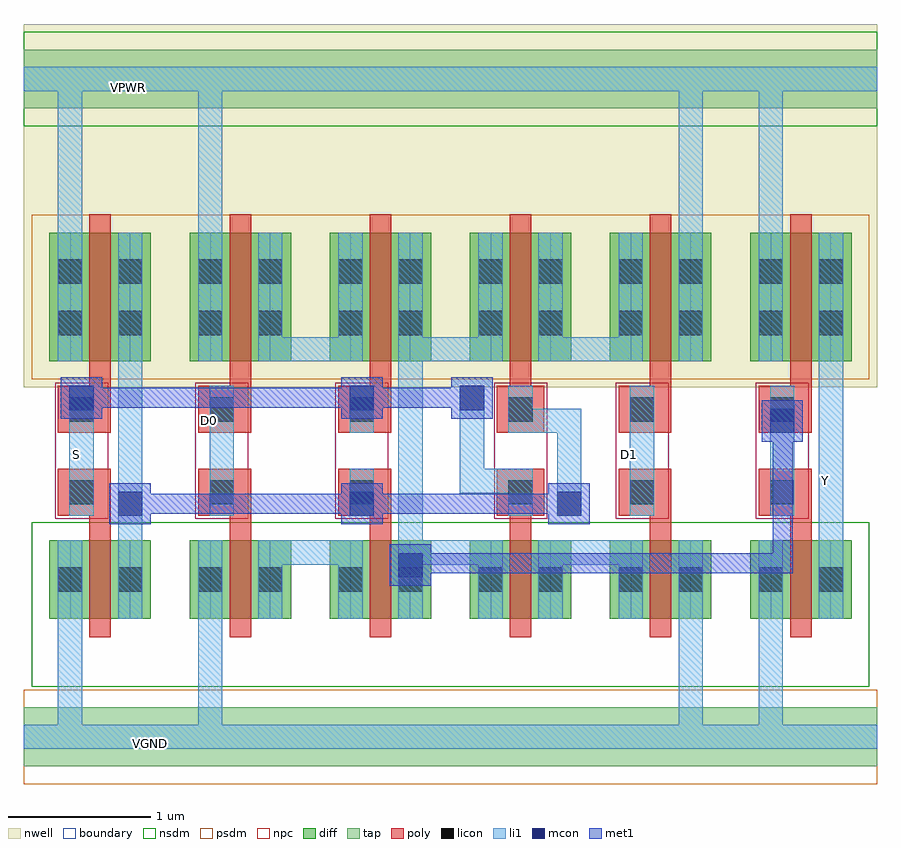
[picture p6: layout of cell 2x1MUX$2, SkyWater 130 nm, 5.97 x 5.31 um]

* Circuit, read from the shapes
.subckt 2x1MUX$2 D0 D1 S VGND VPWR Y
XM1 n1 S VGND VSUBS sky130_fd_pr__nfet_01v8 w=0.55 l=0.15
XM2 n2 D0 VGND VSUBS sky130_fd_pr__nfet_01v8 w=0.55 l=0.15
XM3 n3 n1 n2 VSUBS sky130_fd_pr__nfet_01v8 w=0.55 l=0.15
XM4 n4 S n3 VSUBS sky130_fd_pr__nfet_01v8 w=0.55 l=0.15
XM5 VGND D1 n4 VSUBS sky130_fd_pr__nfet_01v8 w=0.55 l=0.15
XM6 Y n3 VGND VSUBS sky130_fd_pr__nfet_01v8 w=0.55 l=0.15
XM7 n1 S VPWR n5 sky130_fd_pr__pfet_01v8 w=0.9 l=0.15
XM8 n6 D0 VPWR n5 sky130_fd_pr__pfet_01v8 w=0.9 l=0.15
XM9 n3 S n6 n5 sky130_fd_pr__pfet_01v8 w=0.9 l=0.15
XM10 n7 n1 n3 n5 sky130_fd_pr__pfet_01v8 w=0.9 l=0.15
XM11 VPWR D1 n7 n5 sky130_fd_pr__pfet_01v8 w=0.9 l=0.15
XM12 Y n3 VPWR n5 sky130_fd_pr__pfet_01v8 w=0.9 l=0.15
.ends

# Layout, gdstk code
import gdstk
lib = gdstk.Library(unit=1e-6, precision=1e-09)
def R(c, l, rs):  # rectangles x0, y0, x1, y1
    for r in rs: c.add(gdstk.rectangle(r[:2], r[2:], *l))
def A(c, l, x, y, w, h, nx, ny, dx, dy):  # array of equal rectangles
    R(c, l, [(x+i*dx, y+j*dy, x+i*dx+w, y+j*dy+h) for i in range(nx) for j in range(ny)])
def P(c, l, *ps):  # polygons
    for p in ps: c.add(gdstk.Polygon(p, *l))
nwell = (64, 20)
diff = (65, 20)
tap = (65, 44)
poly = (66, 20)
licon = (66, 44)
li1 = (67, 20)
mcon = (67, 44)
met1 = (68, 20)
nsdm = (93, 44)
psdm = (94, 20)
npc = (95, 20)
boundary = (235, 4)

mosfet = lib.new_cell('MOSFET')
R(mosfet, diff, [(-0.145,0,0.565,0.55)])
R(mosfet, poly, [(0.135,-0.13,0.285,0.68)])
R(mosfet, licon, [(-0.085,0.19,0.085,0.36), (0.335,0.19,0.505,0.36)])
R(mosfet, li1, [(-0.085,0,0.085,0.55), (0.335,0,0.505,0.55)])
R(mosfet, nsdm, [(-0.27,-0.125,0.69,0.675)])
R(mosfet, boundary, [(0,0,0.42,0.55)])

contact = lib.new_cell('Contact')
R(contact, li1, [(-0.085,-0.085,0.085,0.085)])
R(contact, mcon, [(-0.085,-0.085,0.085,0.085)])
R(contact, met1, [(-0.145,-0.145,0.145,0.145)])

contact_5 = lib.new_cell('Contact$5')
R(contact_5, poly, [(-0.165,-0.165,0.165,0.165)])
R(contact_5, licon, [(-0.085,-0.085,0.085,0.085)])
R(contact_5, li1, [(-0.085,-0.165,0.085,0.165)])
R(contact_5, npc, [(-0.185,-0.185,0.185,0.185)])

mosfet_1 = lib.new_cell('MOSFET$1')
R(mosfet_1, nwell, [(-0.325,-0.18,0.745,1.08)])
R(mosfet_1, diff, [(-0.145,0,0.565,0.9)])
R(mosfet_1, poly, [(0.135,-0.13,0.285,1.03)])
R(mosfet_1, licon, [(-0.085,0.185,0.085,0.355), (0.335,0.185,0.505,0.355), (-0.085,0.545,0.085,0.715), (0.335,0.545,0.505,0.715)])
R(mosfet_1, li1, [(-0.085,0,0.085,0.9), (0.335,0,0.505,0.9)])
R(mosfet_1, psdm, [(-0.27,-0.125,0.69,1.025)])
R(mosfet_1, boundary, [(0,0,0.42,0.9)])

c_2x1mux_2 = lib.new_cell('2x1MUX$2')
R(c_2x1mux_2, nwell, [(0,1.825,5.97,4.365), (0,1.825,5.97,4.365)])
R(c_2x1mux_2, tap, [(0,-0.825,5.97,-0.415), (0,3.775,5.97,4.185)])
A(c_2x1mux_2, poly, 0.46, 0.885, 0.15, 0.37, 6, 2, 0.98, 0.62)
R(c_2x1mux_2, nsdm, [(0.055,-0.27,5.915,0.88), (0,3.65,5.97,4.31)])
R(c_2x1mux_2, psdm, [(0,-0.95,5.97,-0.29), (0.055,1.88,5.915,3.03)])
A(c_2x1mux_2, npc, 0.22, 0.905, 0.37, 0.95, 3, 1, 0.98, 0)
R(c_2x1mux_2, npc, [(4.14,0.905,4.51,1.855), (5.12,0.905,5.49,1.855)])
P(c_2x1mux_2, npc, [(3.29,0.905),(3.29,1.855),(3.66,1.855),(3.66,1.655),(3.66,0.905)])
c_2x1mux_2.add(gdstk.FlexPath([(3.815,1.095),(3.815,1.59),(3.395,1.59),(3.39,1.59)], 0.17, ends="flush", simple_path=True, layer=67, datatype=20))  # li1
c_2x1mux_2.add(gdstk.FlexPath([(3.18,0.67),(2.79,0.67)], 0.17, ends="flush", simple_path=True, layer=67, datatype=20))  # li1
c_2x1mux_2.add(gdstk.FlexPath([(3.18,2.09),(2.79,2.09)], 0.17, ends="flush", simple_path=True, layer=67, datatype=20))  # li1
c_2x1mux_2.add(gdstk.FlexPath([(3.77,0.67),(4.16,0.67)], 0.17, ends="flush", simple_path=True, layer=67, datatype=20))  # li1
c_2x1mux_2.add(gdstk.FlexPath([(1.81,2.09),(2.2,2.09)], 0.17, ends="flush", simple_path=True, layer=67, datatype=20))  # li1
c_2x1mux_2.add(gdstk.FlexPath([(3.77,2.09),(4.16,2.09)], 0.17, ends="flush", simple_path=True, layer=67, datatype=20))  # li1
c_2x1mux_2.add(gdstk.FlexPath([(0.405,1.505),(0.405,1.255)], 0.17, ends="flush", simple_path=True, layer=67, datatype=20))  # li1
c_2x1mux_2.add(gdstk.FlexPath([(1.385,1.505),(1.385,1.255)], 0.17, ends="flush", simple_path=True, layer=67, datatype=20))  # li1
c_2x1mux_2.add(gdstk.FlexPath([(4.325,1.505),(4.325,1.255)], 0.17, ends="flush", simple_path=True, layer=67, datatype=20))  # li1
c_2x1mux_2.add(gdstk.FlexPath([(5.305,1.505),(5.305,1.255)], 0.17, ends="flush", simple_path=True, layer=67, datatype=20))  # li1
c_2x1mux_2.add(gdstk.FlexPath([(0.745,2.005),(0.745,0.755)], 0.17, ends="flush", simple_path=True, layer=67, datatype=20))  # li1
c_2x1mux_2.add(gdstk.FlexPath([(2.705,2.005),(2.705,0.755)], 0.17, ends="flush", simple_path=True, layer=67, datatype=20))  # li1
c_2x1mux_2.add(gdstk.FlexPath([(5.645,2.005),(5.645,0.755)], 0.17, ends="flush", simple_path=True, layer=67, datatype=20))  # li1
c_2x1mux_2.add(gdstk.FlexPath([(3.135,1.67),(3.135,1.17),(3.425,1.17)], 0.17, ends="flush", simple_path=True, layer=67, datatype=20))  # li1
c_2x1mux_2.add(gdstk.FlexPath([(1.64,0.67),(2.37,0.67)], 0.17, ends="flush", simple_path=True, layer=67, datatype=20))  # li1
c_2x1mux_2.add(gdstk.FlexPath([(0.325,2.905),(0.325,3.895)], 0.17, ends="flush", simple_path=True, layer=67, datatype=20))  # li1
c_2x1mux_2.add(gdstk.FlexPath([(1.305,2.905),(1.305,3.895)], 0.17, ends="flush", simple_path=True, layer=67, datatype=20))  # li1
c_2x1mux_2.add(gdstk.FlexPath([(4.665,2.905),(4.665,3.895)], 0.17, ends="flush", simple_path=True, layer=67, datatype=20))  # li1
c_2x1mux_2.add(gdstk.FlexPath([(5.225,2.905),(5.225,3.895)], 0.17, ends="flush", simple_path=True, layer=67, datatype=20))  # li1
c_2x1mux_2.add(gdstk.FlexPath([(0,-0.62),(5.97,-0.62)], 0.17, ends="flush", simple_path=True, layer=67, datatype=20))  # li1
c_2x1mux_2.add(gdstk.FlexPath([(0,3.98),(5.97,3.98)], 0.17, ends="flush", simple_path=True, layer=67, datatype=20))  # li1
c_2x1mux_2.add(gdstk.FlexPath([(0.325,0.205),(0.325,-0.535)], 0.17, ends="flush", simple_path=True, layer=67, datatype=20))  # li1
c_2x1mux_2.add(gdstk.FlexPath([(1.305,0.205),(1.305,-0.535)], 0.17, ends="flush", simple_path=True, layer=67, datatype=20))  # li1
c_2x1mux_2.add(gdstk.FlexPath([(4.665,0.205),(4.665,-0.535)], 0.17, ends="flush", simple_path=True, layer=67, datatype=20))  # li1
c_2x1mux_2.add(gdstk.FlexPath([(5.225,0.205),(5.225,-0.535)], 0.17, ends="flush", simple_path=True, layer=67, datatype=20))  # li1
c_2x1mux_2.add(gdstk.FlexPath([(0.89,1.01),(3.67,1.01)], 0.14, ends="flush", simple_path=True, layer=68, datatype=20))  # met1
c_2x1mux_2.add(gdstk.FlexPath([(0.55,1.75),(2.99,1.75)], 0.14, ends="flush", simple_path=True, layer=68, datatype=20))  # met1
c_2x1mux_2.add(gdstk.FlexPath([(5.31,1.445),(5.31,0.595),(2.85,0.595)], 0.14, ends="flush", simple_path=True, layer=68, datatype=20))  # met1
c_2x1mux_2.add(gdstk.Reference(mosfet, (0.325,0.205)))
c_2x1mux_2.add(gdstk.Reference(mosfet, (1.305,0.205)))
c_2x1mux_2.add(gdstk.Reference(mosfet, (2.285,0.205)))
c_2x1mux_2.add(gdstk.Reference(mosfet, (3.265,0.205)))
c_2x1mux_2.add(gdstk.Reference(mosfet, (4.245,0.205)))
c_2x1mux_2.add(gdstk.Reference(mosfet, (5.225,0.205)))
c_2x1mux_2.add(gdstk.Reference(contact, (2.705,0.58)))
c_2x1mux_2.add(gdstk.Reference(contact, (0.745,1.01)))
c_2x1mux_2.add(gdstk.Reference(contact, (2.365,1.01)))
c_2x1mux_2.add(gdstk.Reference(contact, (3.815,1.01)))
c_2x1mux_2.add(gdstk.Reference(contact, (5.305,1.59)))
c_2x1mux_2.add(gdstk.Reference(contact, (0.405,1.75)))
c_2x1mux_2.add(gdstk.Reference(contact, (2.365,1.75)))
c_2x1mux_2.add(gdstk.Reference(contact, (3.135,1.75)))
c_2x1mux_2.add(gdstk.Reference(contact_5, (0.405,1.09), x_reflection=True))
c_2x1mux_2.add(gdstk.Reference(contact_5, (1.385,1.09), x_reflection=True))
c_2x1mux_2.add(gdstk.Reference(contact_5, (2.365,1.09), x_reflection=True))
c_2x1mux_2.add(gdstk.Reference(contact_5, (3.475,1.09), x_reflection=True))
c_2x1mux_2.add(gdstk.Reference(contact_5, (4.325,1.09), x_reflection=True))
c_2x1mux_2.add(gdstk.Reference(contact_5, (5.305,1.09), x_reflection=True))
c_2x1mux_2.add(gdstk.Reference(contact_5, (0.405,1.67)))
c_2x1mux_2.add(gdstk.Reference(contact_5, (1.385,1.67)))
c_2x1mux_2.add(gdstk.Reference(contact_5, (2.365,1.67)))
c_2x1mux_2.add(gdstk.Reference(contact_5, (3.475,1.67)))
c_2x1mux_2.add(gdstk.Reference(contact_5, (4.325,1.67)))
c_2x1mux_2.add(gdstk.Reference(contact_5, (5.305,1.67)))
c_2x1mux_2.add(gdstk.Reference(mosfet_1, (0.325,2.005)))
c_2x1mux_2.add(gdstk.Reference(mosfet_1, (1.305,2.005)))
c_2x1mux_2.add(gdstk.Reference(mosfet_1, (2.285,2.005)))
c_2x1mux_2.add(gdstk.Reference(mosfet_1, (3.265,2.005)))
c_2x1mux_2.add(gdstk.Reference(mosfet_1, (4.245,2.005)))
c_2x1mux_2.add(gdstk.Reference(mosfet_1, (5.225,2.005)))
c_2x1mux_2.add(gdstk.Label('VPWR', (0.735,3.92), layer=67, texttype=5))
c_2x1mux_2.add(gdstk.Label('D1', (4.24,1.355), layer=67, texttype=5))
c_2x1mux_2.add(gdstk.Label('Y', (5.61,1.175), layer=67, texttype=5))
c_2x1mux_2.add(gdstk.Label('S', (0.37,1.355), layer=67, texttype=5))
c_2x1mux_2.add(gdstk.Label('VGND', (0.885,-0.665), layer=67, texttype=5))
c_2x1mux_2.add(gdstk.Label('D0', (1.3,1.595), layer=67, texttype=5))

lib.write_gds('2x1MUX_2.gds')
